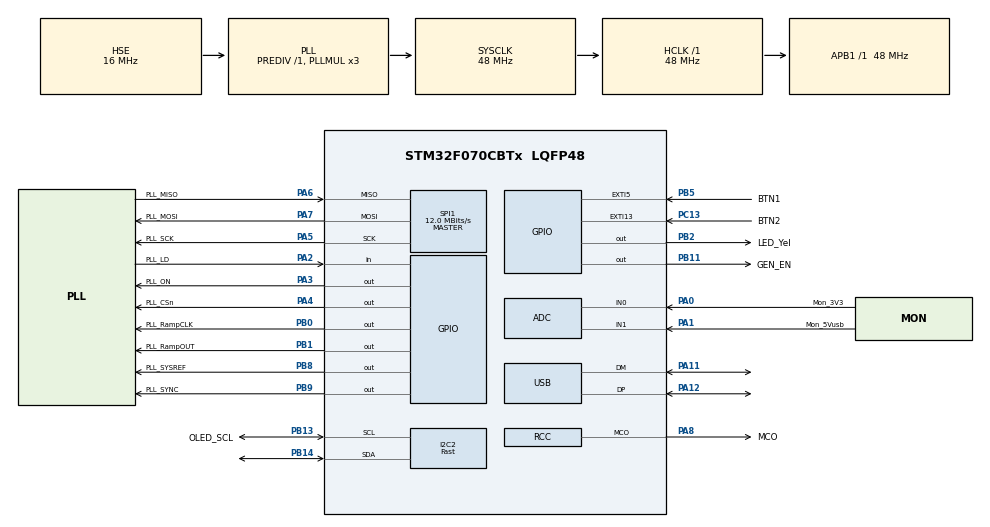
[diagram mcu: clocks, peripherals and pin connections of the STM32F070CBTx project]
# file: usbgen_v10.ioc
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ADC.DiscontinuousConvMode=ENABLE
ADC.SamplingTime=ADC_SAMPLETIME_239CYCLES_5
I2C2.I2C_Speed_Mode=I2C_Fast
I2C2.Timing=0x2010091A
Mcu.Family=STM32F0
Mcu.Name=STM32F070CBTx
Mcu.Package=LQFP48
NVIC.EXTI4_15_IRQn=true\:0\:0\:false\:false\:true\:true\:true\:true
NVIC.USB_IRQn=true\:0\:0\:false\:false\:true\:false\:true\:true
PA0.GPIO_Label=Mon_3V3
PA0.Mode=IN0
PA0.Signal=ADC_IN0
PA1.GPIO_Label=Mon_5Vusb
PA1.Mode=IN1
PA1.Signal=ADC_IN1
PA10.Signal=USART1_RX
PA11.Mode=Device
PA11.Signal=USB_DM
PA12.Mode=Device
PA12.Signal=USB_DP
PA13.Mode=Serial_Wire
PA13.Signal=SYS_SWDIO
PA14.Mode=Serial_Wire
PA14.Signal=SYS_SWCLK
PA2.GPIO_Label=PLL_LD
PA2.Signal=GPIO_Input
PA3.GPIO_Label=PLL_ON
PA3.Signal=GPIO_Output
PA4.GPIO_Label=PLL_CSn
PA4.PinState=GPIO_PIN_SET
PA4.Signal=GPIO_Output
PA5.GPIO_Label=PLL_SCK
PA5.Mode=Full_Duplex_Master
PA5.Signal=SPI1_SCK
PA6.GPIO_Label=PLL_MISO
PA6.Mode=Full_Duplex_Master
PA6.Signal=SPI1_MISO
PA7.GPIO_Label=PLL_MOSI
PA7.Mode=Full_Duplex_Master
PA7.Signal=SPI1_MOSI
PA8.GPIO_Label=MCO
PA8.Mode=Clock-out
PA8.Signal=RCC_MCO
PA9.Signal=USART1_TX
PB0.GPIO_Label=PLL_RampCLK
PB0.Signal=GPIO_Output
PB1.GPIO_Label=PLL_RampOUT
PB1.Signal=GPIO_Output
PB11.GPIO_Label=GEN_EN
PB11.Signal=GPIO_Output
PB13.GPIO_Label=OLED_SCL
PB13.GPIO_Pu=GPIO_PULLUP
PB13.Mode=I2C
PB13.Signal=I2C2_SCL
PB14.GPIO_Pu=GPIO_PULLUP
PB14.Mode=I2C
PB14.Signal=I2C2_SDA
PB2.GPIO_Label=LED_Yel
PB2.Signal=GPIO_Output
PB5.GPIO_Label=BTN1
PB5.GPIO_PuPd=GPIO_PULLDOWN
PB5.Signal=GPXTI5
PB8.GPIO_Label=PLL_SYSREF
PB8.Signal=GPIO_Output
PB9.GPIO_Label=PLL_SYNC
PB9.Signal=GPIO_Output
PC13.GPIO_Label=BTN2
PC13.GPIO_PuPd=GPIO_PULLDOWN
PC13.Signal=GPXTI13
PF0-OSC_IN.Mode=HSE-External-Oscillator
PF0-OSC_IN.Signal=RCC_OSC_IN
PF1-OSC_OUT.Mode=HSE-External-Oscillator
PF1-OSC_OUT.Signal=RCC_OSC_OUT
ProjectManager.HeapSize=0x200
ProjectManager.StackSize=0x400
ProjectManager.TargetToolchain=STM32CubeIDE
RCC.AHBFreq_Value=48000000
RCC.APB1Freq_Value=48000000
RCC.APB1TimFreq_Value=48000000
RCC.HCLKFreq_Value=48000000
RCC.HSE_VALUE=16000000
RCC.I2c1ClockSelection=RCC_I2C1CLKSOURCE_SYSCLK
RCC.PLLMUL=RCC_PLL_MUL3
RCC.SYSCLKFreq_VALUE=48000000
RCC.SYSCLKSource=RCC_SYSCLKSOURCE_PLLCLK
SPI1.BaudRatePrescaler=SPI_BAUDRATEPRESCALER_4
SPI1.CalculateBaudRate=12.0 MBits/s
SPI1.DataSize=SPI_DATASIZE_8BIT
SPI1.Direction=SPI_DIRECTION_2LINES
SPI1.Mode=SPI_MODE_MASTER
SPI1.NSSPMode=SPI_NSS_PULSE_ENABLE
SPI1.TIMode=SPI_TIMODE_DISABLE
SPI1.VirtualType=VM_MASTER
USB_DEVICE.CLASS_NAME_FS=CDC
USB_DEVICE.VirtualMode=Cdc
USB_DEVICE.VirtualModeFS=Cdc_FS
VP_ADC_TempSens_Input.Mode=IN-TempSens
VP_ADC_Vref_Input.Mode=IN-Vrefint
VP_USB_DEVICE_VS_USB_DEVICE_CDC_FS.Mode=CDC_FS
board=custom

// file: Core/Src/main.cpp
/* USER CODE BEGIN Header */
/**
 ******************************************************************************
 * @file           : main.c
 * @brief          : Main program body
 ******************************************************************************
 * @attention
 *
 * <h2><center>&copy; Copyright (c) 2021 STMicroelectronics.
 * All rights reserved.</center></h2>
 *
 * This software component is licensed by ST under Ultimate Liberty license
 * SLA0044, the "License"; You may not use this file except in compliance with
 * the License. You may obtain a copy of the License at:
 *                             www.st.com/SLA0044
 *
 ******************************************************************************
 */
/* USER CODE END Header */
#include "main.h"
#include "usb_device.h"

/* USER CODE BEGIN Includes */

#include "usbd_cdc_if.h"
#include <stdio.h>
#include "cmdsrv.h"
#include <flashsrv.h>
#include "build_defs.h"
#include "statustype.h"
#include "buttonsrv.h"
#include "lcdsrv.h"
#include "lmx2594Lite.hpp"
#include "pllsrv.h"
#include "comproc.h"

/* USER CODE END Includes */

/* USER CODE BEGIN PTD */

const uint8_t ID_FW = 0xCA;

volatile constexpr uint32_t firmware_version = (ID_FW << 24) | (DAY_BCD << 16)
    | (MONTH_BCD << 8) | YEAR_BCD;

// длина списка предустановленных частот
constexpr uint32_t preDefFreqCount = 10;

// список предустановленных частот в сотнях кГц
// первый элемент - сигнатура
uint32_t preDefFreq[preDefFreqCount + 1] { wrSignature, 1070, 2100, 10000,
    24000, 50000, 100000, 200000, 400000, 800000, 1500000 };

union StatusTypeUnion {
  DevStausStructType struc {
    .signature {wrSignature},  ///< Сигнатура записи (всегда первая)
    .Fgen {547000000},  // частота PLL, Гц
    .Fintref {40000000},  // частота внутреннего опорного генератора, Гц
    .Fextref {100000000},  // частота внешнего опорного генератора, Гц
    .Pgen {LMX2594::PWR_Max},  // мощность на выходе А
    .Poff {false},  // флаг включения выхода OUTA
    .EnGen {true},  // флаг включенного внутреннего опорного генератора
    .preDefFreqCurIndex {1},  // текущая частота из списка от 1 до preDefFreqCount
    .preDefFreqCount {preDefFreqCount},  // размер списка частот
    .preDefFreq {preDefFreq},  // указатель на список частот
    .scanMode {},  //
    .startFscan {},  //
    .stopFscan {},  //
    .stepFscan {},  //
    .FWver {firmware_version},  //
    .arrAddr {nullptr},  //
    .arrSize {DevStausStructSize}};  // версия прошивки
  uint32_t arr[DevStausStructSize];
};

/* USER CODE END PTD */

/* USER CODE BEGIN PD */
// длина буфера команд
#define cmdBufLength 64

/* USER CODE END PD */

ADC_HandleTypeDef hadc;

I2C_HandleTypeDef hi2c2;

SPI_HandleTypeDef hspi1;

/* USER CODE BEGIN PV */
// структура данных
StatusTypeUnion devStatus;

// флаг вывода printf на экран
bool printfToLCD = false;
// флаг необходимости обработки данных из USB
bool usbBufEx = false;
// указатель на буфер данных с USB
uint8_t *usbBuf = nullptr;
// длина данных в USB буфере
uint32_t usbBufLength { };
// буфер команд
char cmdBuf[cmdBufLength] { };

/* USER CODE END PV */

void SystemClock_Config(void);
static void MX_GPIO_Init(void);
static void MX_ADC_Init(void);
static void MX_I2C2_Init(void);
static void MX_SPI1_Init(void);
/* USER CODE BEGIN PFP */

bool readStatus();
void ledSet(bool on);

/* USER CODE END PFP */

int main(void) {
  /* USER CODE BEGIN 1 */

  // инициализируем адрес массива
  devStatus.struc.arrAddr = devStatus.arr;

  /* USER CODE END 1 */

  /* MCU Configuration--------------------------------------------------------*/

  /* Reset of all peripherals, Initializes the Flash interface and the Systick. */
  HAL_Init();

  /* Configure the system clock */
  SystemClock_Config();

  /* Initialize all configured peripherals */
  MX_GPIO_Init();
  MX_ADC_Init();
  MX_I2C2_Init();
  MX_SPI1_Init();
  MX_USB_DEVICE_Init();
  /* USER CODE BEGIN 2 */

  // читаем сохраненные настройки
  readStatus(devStatus.struc.arrAddr, devStatus.struc.arrSize);

  // читаем список частот
  readFreq(devStatus.struc.preDefFreq, devStatus.struc.preDefFreqCount + 1);

  lcdInit(firmware_version);

  SetGen(devStatus.struc.EnGen);
  HAL_Delay(100);
  HAL_GPIO_WritePin(PLL_ON_GPIO_Port, PLL_ON_Pin, GPIO_PIN_SET);
  HAL_Delay(1);

  if (SetF(devStatus.struc))
    lcdprintf(3, "Set %.1f MHz\n", devStatus.struc.Fgen / 1000000.0f);
  else
    lcdWrite(3, (char*) "Error set freq");

  if (devStatus.struc.Poff)
    setPllPwr(LMX2594::PWR_Off);
  else
    setPllPwr(devStatus.struc.Pgen);

  /* USER CODE END 2 */

  /* Infinite loop */
  /* USER CODE BEGIN WHILE */
  while (1) {
    ledSet(GetLD());

    // получаем данные из буфера USB в кольцевой буфер
    while (usbBufEx) {  // while для случая когда во время takeUsbBuf() снова уст-тся usbBufEx
      usbBufEx = false;
      takeUsbBuf(usbBuf, usbBufLength);
    }

    // ищем команду в кольцевом буфере
    if (takeCmd(cmdBuf, cmdBufLength)) {
      HAL_GPIO_TogglePin(LED_Yel_GPIO_Port, LED_Yel_Pin);
      comProc(cmdBuf, devStatus.struc);
      HAL_GPIO_TogglePin(LED_Yel_GPIO_Port, LED_Yel_Pin);
    }

    /* USER CODE END WHILE */

  }
}

void SystemClock_Config(void) {
  RCC_OscInitTypeDef RCC_OscInitStruct = { 0 };
  RCC_ClkInitTypeDef RCC_ClkInitStruct = { 0 };
  RCC_PeriphCLKInitTypeDef PeriphClkInit = { 0 };

  /** Initializes the RCC Oscillators according to the specified parameters
   * in the RCC_OscInitTypeDef structure.
   */
  RCC_OscInitStruct.OscillatorType = RCC_OSCILLATORTYPE_HSI14
      | RCC_OSCILLATORTYPE_HSE;
  RCC_OscInitStruct.HSEState = RCC_HSE_ON;
  RCC_OscInitStruct.HSI14State = RCC_HSI14_ON;
  RCC_OscInitStruct.HSI14CalibrationValue = 16;
  RCC_OscInitStruct.PLL.PLLState = RCC_PLL_ON;
  RCC_OscInitStruct.PLL.PLLSource = RCC_PLLSOURCE_HSE;
  RCC_OscInitStruct.PLL.PLLMUL = RCC_PLL_MUL3;
  RCC_OscInitStruct.PLL.PREDIV = RCC_PREDIV_DIV1;
  if (HAL_RCC_OscConfig(&RCC_OscInitStruct) != HAL_OK) {
    Error_Handler();
  }
  /** Initializes the CPU, AHB and APB buses clocks
   */
  RCC_ClkInitStruct.ClockType = RCC_CLOCKTYPE_HCLK | RCC_CLOCKTYPE_SYSCLK
      | RCC_CLOCKTYPE_PCLK1;
  RCC_ClkInitStruct.SYSCLKSource = RCC_SYSCLKSOURCE_PLLCLK;
  RCC_ClkInitStruct.AHBCLKDivider = RCC_SYSCLK_DIV1;
  RCC_ClkInitStruct.APB1CLKDivider = RCC_HCLK_DIV1;

  if (HAL_RCC_ClockConfig(&RCC_ClkInitStruct, FLASH_LATENCY_1) != HAL_OK) {
    Error_Handler();
  }
  PeriphClkInit.PeriphClockSelection = RCC_PERIPHCLK_USB;
  PeriphClkInit.UsbClockSelection = RCC_USBCLKSOURCE_PLL;

  if (HAL_RCCEx_PeriphCLKConfig(&PeriphClkInit) != HAL_OK) {
    Error_Handler();
  }
  HAL_RCC_MCOConfig(RCC_MCO, RCC_MCO1SOURCE_SYSCLK, RCC_MCODIV_1);
}

static void MX_ADC_Init(void) {

  ADC_ChannelConfTypeDef sConfig = { 0 };

  /** Configure the global features of the ADC (Clock, Resolution, Data Alignment and number of conversion)
   */
  hadc.Instance = ADC1;
  hadc.Init.ClockPrescaler = ADC_CLOCK_ASYNC_DIV1;
  hadc.Init.Resolution = ADC_RESOLUTION_12B;
  hadc.Init.DataAlign = ADC_DATAALIGN_RIGHT;
  hadc.Init.ScanConvMode = ADC_SCAN_DIRECTION_FORWARD;
  hadc.Init.EOCSelection = ADC_EOC_SINGLE_CONV;
  hadc.Init.LowPowerAutoWait = DISABLE;
  hadc.Init.LowPowerAutoPowerOff = DISABLE;
  hadc.Init.ContinuousConvMode = DISABLE;
  hadc.Init.DiscontinuousConvMode = ENABLE;
  hadc.Init.ExternalTrigConv = ADC_SOFTWARE_START;
  hadc.Init.ExternalTrigConvEdge = ADC_EXTERNALTRIGCONVEDGE_NONE;
  hadc.Init.DMAContinuousRequests = DISABLE;
  hadc.Init.Overrun = ADC_OVR_DATA_PRESERVED;
  if (HAL_ADC_Init(&hadc) != HAL_OK) {
    Error_Handler();
  }
  /** Configure for the selected ADC regular channel to be converted.
   */
  sConfig.Channel = ADC_CHANNEL_0;
  sConfig.Rank = ADC_RANK_CHANNEL_NUMBER;
  sConfig.SamplingTime = ADC_SAMPLETIME_239CYCLES_5;
  if (HAL_ADC_ConfigChannel(&hadc, &sConfig) != HAL_OK) {
    Error_Handler();
  }
  /** Configure for the selected ADC regular channel to be converted.
   */
  sConfig.Channel = ADC_CHANNEL_1;
  if (HAL_ADC_ConfigChannel(&hadc, &sConfig) != HAL_OK) {
    Error_Handler();
  }
  /** Configure for the selected ADC regular channel to be converted.
   */
  sConfig.Channel = ADC_CHANNEL_TEMPSENSOR;
  if (HAL_ADC_ConfigChannel(&hadc, &sConfig) != HAL_OK) {
    Error_Handler();
  }
  /** Configure for the selected ADC regular channel to be converted.
   */
  sConfig.Channel = ADC_CHANNEL_VREFINT;
  if (HAL_ADC_ConfigChannel(&hadc, &sConfig) != HAL_OK) {
    Error_Handler();
  }
  /* USER CODE BEGIN ADC_Init 2 */

  HAL_ADCEx_Calibration_Start(&hadc);

  /* USER CODE END ADC_Init 2 */

}

static void MX_I2C2_Init(void) {

  hi2c2.Instance = I2C2;
  hi2c2.Init.Timing = 0x2010091A;
  hi2c2.Init.OwnAddress1 = 0;
  hi2c2.Init.AddressingMode = I2C_ADDRESSINGMODE_7BIT;
  hi2c2.Init.DualAddressMode = I2C_DUALADDRESS_DISABLE;
  hi2c2.Init.OwnAddress2 = 0;
  hi2c2.Init.OwnAddress2Masks = I2C_OA2_NOMASK;
  hi2c2.Init.GeneralCallMode = I2C_GENERALCALL_DISABLE;
  hi2c2.Init.NoStretchMode = I2C_NOSTRETCH_DISABLE;
  if (HAL_I2C_Init(&hi2c2) != HAL_OK) {
    Error_Handler();
  }
  /** Configure Analogue filter
   */
  if (HAL_I2CEx_ConfigAnalogFilter(&hi2c2, I2C_ANALOGFILTER_ENABLE) != HAL_OK) {
    Error_Handler();
  }
  /** Configure Digital filter
   */
  if (HAL_I2CEx_ConfigDigitalFilter(&hi2c2, 0) != HAL_OK) {
    Error_Handler();
  }

}

static void MX_SPI1_Init(void) {

  /* SPI1 parameter configuration*/
  hspi1.Instance = SPI1;
  hspi1.Init.Mode = SPI_MODE_MASTER;
  hspi1.Init.Direction = SPI_DIRECTION_2LINES;
  hspi1.Init.DataSize = SPI_DATASIZE_8BIT;
  hspi1.Init.CLKPolarity = SPI_POLARITY_LOW;
  hspi1.Init.CLKPhase = SPI_PHASE_1EDGE;
  hspi1.Init.NSS = SPI_NSS_SOFT;
  hspi1.Init.BaudRatePrescaler = SPI_BAUDRATEPRESCALER_4;
  hspi1.Init.FirstBit = SPI_FIRSTBIT_MSB;
  hspi1.Init.TIMode = SPI_TIMODE_DISABLE;
  hspi1.Init.CRCCalculation = SPI_CRCCALCULATION_DISABLE;
  hspi1.Init.CRCPolynomial = 7;
  hspi1.Init.CRCLength = SPI_CRC_LENGTH_DATASIZE;
  hspi1.Init.NSSPMode = SPI_NSS_PULSE_ENABLE;
  if (HAL_SPI_Init(&hspi1) != HAL_OK) {
    Error_Handler();
  }

}

static void MX_GPIO_Init(void) {
  GPIO_InitTypeDef GPIO_InitStruct = { 0 };

  /* GPIO Ports Clock Enable */
  __HAL_RCC_GPIOC_CLK_ENABLE();
  __HAL_RCC_GPIOF_CLK_ENABLE();
  __HAL_RCC_GPIOA_CLK_ENABLE();
  __HAL_RCC_GPIOB_CLK_ENABLE();

  /*Configure GPIO pin Output Level */
  HAL_GPIO_WritePin(PLL_ON_GPIO_Port, PLL_ON_Pin, GPIO_PIN_RESET);

  /*Configure GPIO pin Output Level */
  HAL_GPIO_WritePin(PLL_CSn_GPIO_Port, PLL_CSn_Pin, GPIO_PIN_SET);

  /*Configure GPIO pin Output Level */
  HAL_GPIO_WritePin(
      GPIOB,
      PLL_RampCLK_Pin | PLL_RampOUT_Pin | LED_Yel_Pin | GEN_EN_Pin
          | PLL_SYSREF_Pin | PLL_SYNC_Pin,
      GPIO_PIN_RESET);

  /*Configure GPIO pin : BTN2_Pin */
  GPIO_InitStruct.Pin = BTN2_Pin;
  GPIO_InitStruct.Mode = GPIO_MODE_IT_RISING;
  GPIO_InitStruct.Pull = GPIO_PULLDOWN;
  HAL_GPIO_Init(BTN2_GPIO_Port, &GPIO_InitStruct);

  /*Configure GPIO pin : PLL_LD_Pin */
  GPIO_InitStruct.Pin = PLL_LD_Pin;
  GPIO_InitStruct.Mode = GPIO_MODE_INPUT;
  GPIO_InitStruct.Pull = GPIO_NOPULL;
  HAL_GPIO_Init(PLL_LD_GPIO_Port, &GPIO_InitStruct);

  /*Configure GPIO pins : PLL_ON_Pin PLL_CSn_Pin */
  GPIO_InitStruct.Pin = PLL_ON_Pin | PLL_CSn_Pin;
  GPIO_InitStruct.Mode = GPIO_MODE_OUTPUT_PP;
  GPIO_InitStruct.Pull = GPIO_NOPULL;
  GPIO_InitStruct.Speed = GPIO_SPEED_FREQ_LOW;
  HAL_GPIO_Init(GPIOA, &GPIO_InitStruct);

  /*Configure GPIO pins : PLL_RampCLK_Pin PLL_RampOUT_Pin LED_Yel_Pin GEN_EN_Pin
   PLL_SYSREF_Pin PLL_SYNC_Pin */
  GPIO_InitStruct.Pin = PLL_RampCLK_Pin | PLL_RampOUT_Pin | LED_Yel_Pin
      | GEN_EN_Pin | PLL_SYSREF_Pin | PLL_SYNC_Pin;
  GPIO_InitStruct.Mode = GPIO_MODE_OUTPUT_PP;
  GPIO_InitStruct.Pull = GPIO_NOPULL;
  GPIO_InitStruct.Speed = GPIO_SPEED_FREQ_LOW;
  HAL_GPIO_Init(GPIOB, &GPIO_InitStruct);

  /*Configure GPIO pin : MCO_Pin */
  GPIO_InitStruct.Pin = MCO_Pin;
  GPIO_InitStruct.Mode = GPIO_MODE_AF_PP;
  GPIO_InitStruct.Pull = GPIO_NOPULL;
  GPIO_InitStruct.Speed = GPIO_SPEED_FREQ_LOW;
  GPIO_InitStruct.Alternate = GPIO_AF0_MCO;
  HAL_GPIO_Init(MCO_GPIO_Port, &GPIO_InitStruct);

  /*Configure GPIO pins : PA9 PA10 */
  GPIO_InitStruct.Pin = GPIO_PIN_9 | GPIO_PIN_10;
  GPIO_InitStruct.Mode = GPIO_MODE_AF_PP;
  GPIO_InitStruct.Pull = GPIO_NOPULL;
  GPIO_InitStruct.Speed = GPIO_SPEED_FREQ_HIGH;
  GPIO_InitStruct.Alternate = GPIO_AF1_USART1;
  HAL_GPIO_Init(GPIOA, &GPIO_InitStruct);

  /*Configure GPIO pin : BTN1_Pin */
  GPIO_InitStruct.Pin = BTN1_Pin;
  GPIO_InitStruct.Mode = GPIO_MODE_IT_RISING;
  GPIO_InitStruct.Pull = GPIO_PULLDOWN;
  HAL_GPIO_Init(BTN1_GPIO_Port, &GPIO_InitStruct);

  /* EXTI interrupt init*/
  HAL_NVIC_SetPriority(EXTI4_15_IRQn, 0, 0);
  HAL_NVIC_EnableIRQ(EXTI4_15_IRQn);

}

/* USER CODE BEGIN 4 */

// Перенаправление printf() на USB VCP
extern "C" int _write(int file, char *ptr, int len) {
  if (printfToLCD) {
    lcdWrite(ptr);
    lcdUpdate();
    printfToLCD = false;
  } else
    CDC_Transmit_FS((uint8_t*) ptr, len);

  return len;
}

extern "C" void HAL_GPIO_EXTI_Callback(uint16_t GPIO_Pin) {
  switch (GPIO_Pin) {
    case BTN1_Pin:
      setPrevPreDefFreq(devStatus.struc);
      break;
    case BTN2_Pin:
      setNextPreDefFreq(devStatus.struc);
      break;
    default:
      break;
  }
}

void usbCallBack(uint8_t *buf, uint32_t len) {
  usbBufEx = true;
  usbBuf = buf;
  usbBufLength = len;
}

void ledSet(bool on) {
  if (on)
    HAL_GPIO_WritePin(LED_Yel_GPIO_Port, LED_Yel_Pin, GPIO_PIN_SET);
  else
    HAL_GPIO_WritePin(LED_Yel_GPIO_Port, LED_Yel_Pin, GPIO_PIN_RESET);
}

/* USER CODE END 4 */

void Error_Handler(void) {
  __disable_irq();
  while (1) {
  }
}

#ifdef  USE_FULL_ASSERT
/**
  * @brief  Reports the name of the source file and the source line number
  *         where the assert_param error has occurred.
  * @param  file: pointer to the source file name
  * @param  line: assert_param error line source number
  * @retval None
  */
void assert_failed(uint8_t *file, uint32_t line)
{
  /* USER CODE BEGIN 6 */
  /* User can add his own implementation to report the file name and line
     number,
     ex: printf("Wrong parameters value: file %s on line %d\r\n", file, line) */
  /* USER CODE END 6 */
}
#endif /* USE_FULL_ASSERT */

/************************ (C) COPYRIGHT STMicroelectronics *****END OF FILE****/
